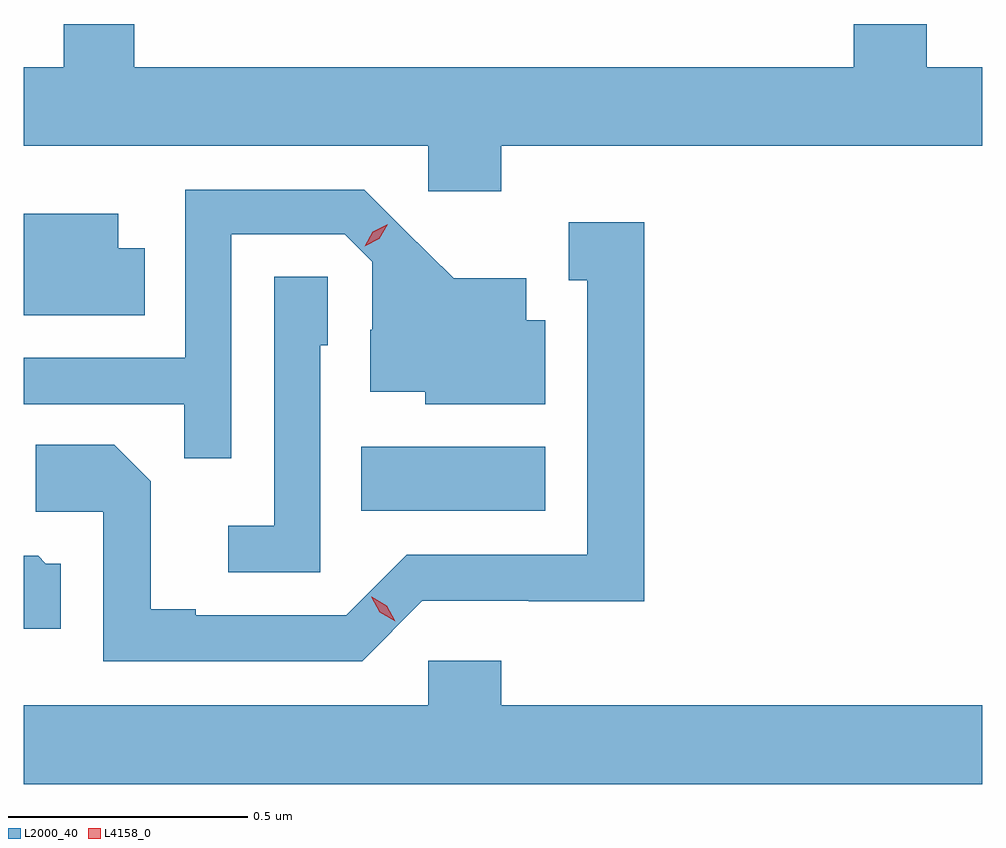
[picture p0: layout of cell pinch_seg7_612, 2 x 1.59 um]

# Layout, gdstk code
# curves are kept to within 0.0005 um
import gdstk
lib = gdstk.Library(unit=1e-6, precision=1e-09)
def R(c, l, rs):  # rectangles x0, y0, x1, y1
    for r in rs: c.add(gdstk.rectangle(r[:2], r[2:], *l))
def P(c, l, *ps):  # polygons
    for p in ps: c.add(gdstk.Polygon(p, *l))
L2000_40 = (2000, 40)
L4158_0 = (4158, 0)

pinch_seg7_612 = lib.new_cell('pinch_seg7_612')
R(pinch_seg7_612, L2000_40, [(123.382,1049.138,123.766,1049.272)])
P(pinch_seg7_612, L2000_40, [(123.674,1049.9),(124.678,1049.9),(124.678,1050.064),(124.562,1050.064),(124.562,1050.154),(124.41,1050.154),(124.41,1050.064),(122.908,1050.064),(122.908,1050.154),(122.761,1050.154),(122.761,1050.064),(122.678,1050.064),(122.678,1049.9),(123.522,1049.9),(123.522,1049.805),(123.674,1049.805)],
  [(123.111,1049.715),(123.348,1049.715),(123.405,1049.658),(123.405,1049.516),(123.401,1049.516),(123.401,1049.387),(123.516,1049.387),(123.516,1049.36),(123.766,1049.36),(123.766,1049.536),(123.727,1049.536),(123.727,1049.623),(123.575,1049.623),(123.388,1049.808),(123.015,1049.808),(123.015,1049.457),(122.678,1049.457),(122.678,1049.361),(123.013,1049.361),(123.013,1049.248),(123.111,1049.248)],
  [(122.93,1049.686),(122.875,1049.686),(122.875,1049.758),(122.678,1049.758),(122.678,1049.546),(122.93,1049.546)],
  [(123.51,1048.95),(123.732,1048.95),(123.732,1048.949),(123.973,1048.949),(123.973,1049.74),(123.815,1049.74),(123.815,1049.619),(123.854,1049.619),(123.854,1049.046),(123.477,1049.046),(123.351,1048.92),(123.037,1048.92),(123.037,1048.933),(122.943,1048.933),(122.943,1049.2),(122.867,1049.276),(122.703,1049.276),(122.703,1049.136),(122.844,1049.136),(122.844,1048.824),(123.384,1048.824)],
  [(123.297,1049.484),(123.312,1049.484),(123.312,1049.627),(123.201,1049.627),(123.201,1049.107),(123.105,1049.107),(123.105,1049.01),(123.297,1049.01)],
  [(122.755,1049.028),(122.724,1049.028),(122.708,1049.044),(122.678,1049.044),(122.678,1048.892),(122.755,1048.892)],
  [(124.678,1048.732),(123.674,1048.732),(123.674,1048.825),(123.522,1048.825),(123.522,1048.732),(122.678,1048.732),(122.678,1048.568),(124.678,1048.568)])
P(pinch_seg7_612, L4158_0, [(123.453,1048.908),(123.421,1048.926),(123.403,1048.959),(123.403,1048.959),(123.404,1048.959),(123.435,1048.94),(123.453,1048.908),(123.453,1048.908)],
  [(123.389,1049.69),(123.389,1049.69),(123.406,1049.72),(123.437,1049.736),(123.437,1049.736),(123.437,1049.736),(123.42,1049.706),(123.389,1049.69)])

lib.write_gds('pinch_seg7_612.gds')
